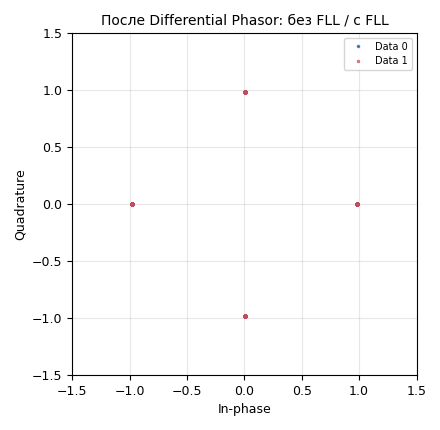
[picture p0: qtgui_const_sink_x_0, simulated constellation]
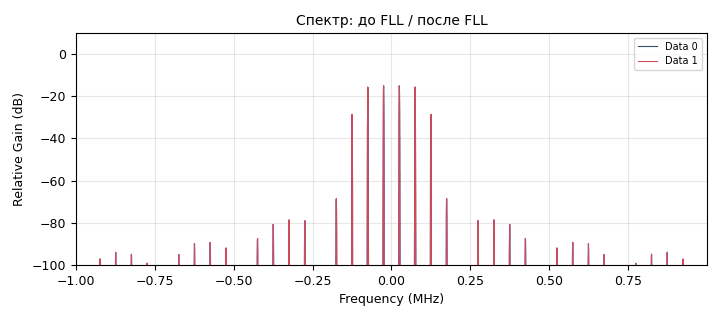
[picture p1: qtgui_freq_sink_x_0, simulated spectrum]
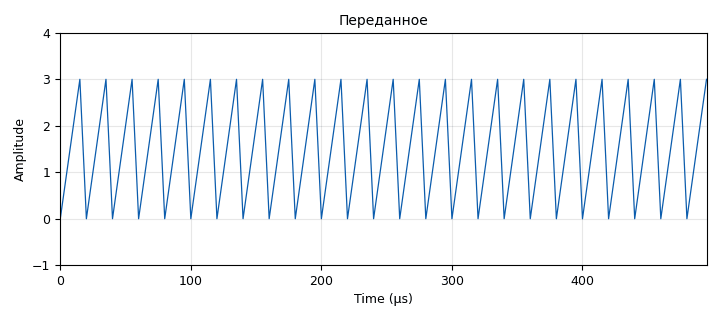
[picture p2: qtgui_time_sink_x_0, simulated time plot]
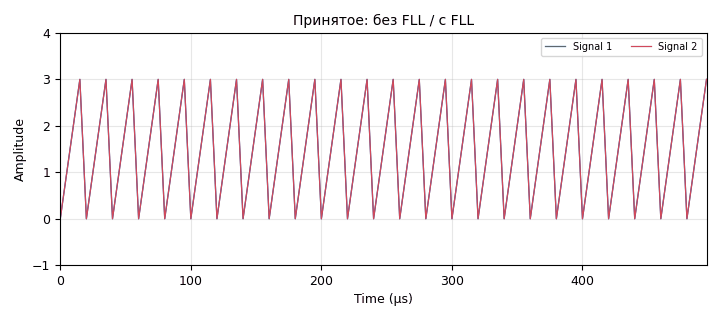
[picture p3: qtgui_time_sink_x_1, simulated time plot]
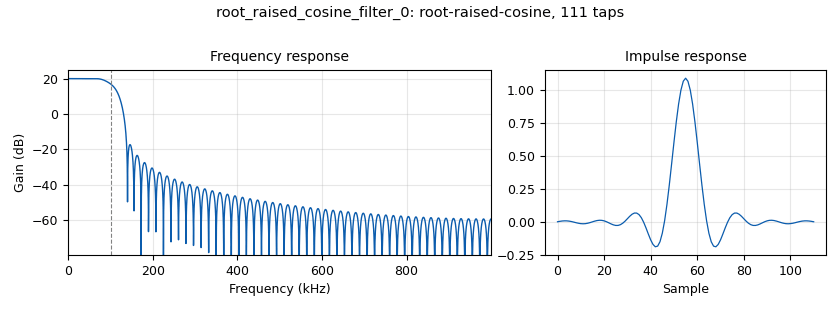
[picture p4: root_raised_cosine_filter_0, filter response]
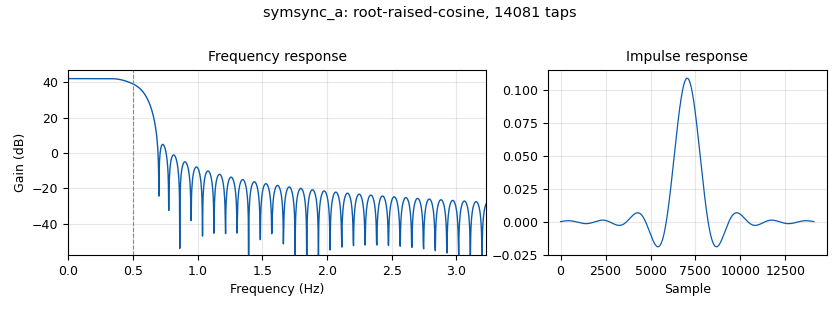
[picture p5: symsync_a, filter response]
options:
  parameters:
    author: Lab5
    generate_options: qt_gui
    id: lab5_1_9_1_krutoe
    output_language: python
  states: {}

blocks:
- name: Rs
  id: variable
  parameters:
    value: samp_rate/sps
  states: {}
- name: alpha
  id: variable
  parameters:
    value: '0.35'
  states: {}
- name: dqpsk
  id: variable_constellation
  parameters:
    const_points: '[1, 1j, -1, -1j]'
    dims: '1'
    normalization: digital.constellation.AMPLITUDE_NORMALIZATION
    precision: '8'
    rot_sym: '4'
    sym_map: '[0, 1, 2, 3]'
    type: calcdist
  states: {}
- name: f
  id: variable_qtgui_range
  parameters:
    label: '"Расстройка частоты, Гц"'
    start: '-50000.0'
    step: '100'
    stop: '50000.0'
    value: '0'
  states: {}
- name: n
  id: variable_qtgui_range
  parameters:
    label: '"Noise Voltage, мВ"'
    start: '0'
    step: '1'
    stop: '1000'
    value: '0'
  states: {}
- name: samp_rate
  id: variable
  parameters:
    value: 2e6
  states: {}
- name: sps
  id: variable
  parameters:
    value: '10'
  states: {}
- name: blocks_throttle2_0
  id: blocks_throttle2
  parameters:
    samples_per_second: Rs
    type: byte
  states: {}
- name: blocks_uchar_to_float_0
  id: blocks_uchar_to_float
  parameters: {}
  states: {}
- name: blocks_uchar_to_float_1
  id: blocks_uchar_to_float
  parameters: {}
  states: {}
- name: blocks_uchar_to_float_2
  id: blocks_uchar_to_float
  parameters: {}
  states: {}
- name: channel
  id: channels_channel_model
  parameters:
    epsilon: '1.0'
    freq_offset: f/samp_rate
    noise_voltage: n*1e-3
    seed: '0'
    taps: '1.0'
  states: {}
- name: chunks2sym
  id: digital_chunks_to_symbols_xx
  parameters:
    dimension: '1'
    in_type: byte
    out_type: complex
    symbol_table: '[0.707+0.707j, -0.707+0.707j, -0.707-0.707j, 0.707-0.707j]'
  states: {}
- name: decoder_a
  id: digital_constellation_decoder_cb
  parameters:
    constellation: dqpsk
  states: {}
- name: decoder_b
  id: digital_constellation_decoder_cb
  parameters:
    constellation: dqpsk
  states: {}
- name: diff_enc
  id: digital_diff_encoder_bb
  parameters:
    coding: digital.DIFF_DIFFERENTIAL
    modulus: '4'
  states: {}
- name: diffphasor_a
  id: digital_diff_phasor_cc
  parameters: {}
  states: {}
- name: diffphasor_b
  id: digital_diff_phasor_cc
  parameters: {}
  states: {}
- name: fll
  id: digital_fll_band_edge_cc
  parameters:
    filter_size: '44'
    rolloff: alpha
    samps_per_sym: sps
    type: cc
    w: '0.00628'
  states: {}
- name: qtgui_const_sink_x_0
  id: qtgui_const_sink_x
  parameters:
    grid: 'True'
    name: '"После Differential Phasor: без FLL / с FLL"'
    nconnections: '2'
    size: '1024'
    type: complex
    xmax: '1.5'
    xmin: '-1.5'
    ymax: '1.5'
    ymin: '-1.5'
  states: {}
- name: qtgui_freq_sink_x_0
  id: qtgui_freq_sink_x
  parameters:
    average: '0.1'
    bw: samp_rate
    fc: '0'
    fftsize: '4096'
    grid: 'True'
    name: '"Спектр: до FLL / после FLL"'
    nconnections: '2'
    type: complex
    ymin: '-100'
  states: {}
- name: qtgui_time_sink_x_0
  id: qtgui_time_sink_x
  parameters:
    grid: 'True'
    name: '"Переданное"'
    size: '100'
    srate: Rs
    type: float
    ymax: '4'
  states: {}
- name: qtgui_time_sink_x_1
  id: qtgui_time_sink_x
  parameters:
    grid: 'True'
    name: '"Принятое: без FLL / с FLL"'
    nconnections: '2'
    size: '100'
    srate: Rs
    type: float
    ymax: '4'
  states: {}
- name: root_raised_cosine_filter_0
  id: root_raised_cosine_filter
  parameters:
    alpha: alpha
    gain: sps
    interp: sps
    ntaps: 11*sps
    samp_rate: samp_rate
    sym_rate: Rs
    type: interp_fir_filter_ccf
  states: {}
- name: src_0
  id: blocks_vector_source_x
  parameters:
    repeat: 'True'
    type: byte
    vector: (0, 1, 2, 3)
  states: {}
- name: symsync_a
  id: digital_symbol_sync_xx
  parameters:
    constellation: digital.constellation_qpsk().base()
    damping: '1.0'
    loop_bw: '0.045'
    max_dev: '1.5'
    nfilters: '128'
    osps: '1'
    pfb_mf_taps: firdes.root_raised_cosine(128, 128*sps, 1.0, alpha, 11*sps*128)
    resamp_type: digital.IR_PFB_MF
    sps: sps
    ted_gain: '1.0'
    ted_type: digital.TED_GARDNER
    type: cc
  states: {}
- name: symsync_b
  id: digital_symbol_sync_xx
  parameters:
    constellation: digital.constellation_qpsk().base()
    damping: '1.0'
    loop_bw: '0.045'
    max_dev: '1.5'
    nfilters: '128'
    osps: '1'
    pfb_mf_taps: firdes.root_raised_cosine(128, 128*sps, 1.0, alpha, 11*sps*128)
    resamp_type: digital.IR_PFB_MF
    sps: sps
    ted_gain: '1.0'
    ted_type: digital.TED_GARDNER
    type: cc
  states: {}
- name: vsink
  id: virtual_sink
  parameters:
    stream_id: dqpsk
  states: {}
- name: vsrc
  id: virtual_source
  parameters:
    stream_id: dqpsk
  states: {}

connections:
- [blocks_throttle2_0, '0', blocks_uchar_to_float_0, '0']
- [blocks_throttle2_0, '0', diff_enc, '0']
- [blocks_uchar_to_float_0, '0', qtgui_time_sink_x_0, '0']
- [blocks_uchar_to_float_1, '0', qtgui_time_sink_x_1, '0']
- [blocks_uchar_to_float_2, '0', qtgui_time_sink_x_1, '1']
- [channel, '0', vsink, '0']
- [chunks2sym, '0', root_raised_cosine_filter_0, '0']
- [decoder_a, '0', blocks_uchar_to_float_1, '0']
- [decoder_b, '0', blocks_uchar_to_float_2, '0']
- [diff_enc, '0', chunks2sym, '0']
- [diffphasor_a, '0', decoder_a, '0']
- [diffphasor_a, '0', qtgui_const_sink_x_0, '0']
- [diffphasor_b, '0', decoder_b, '0']
- [diffphasor_b, '0', qtgui_const_sink_x_0, '1']
- [fll, '0', qtgui_freq_sink_x_0, '1']
- [fll, '0', symsync_b, '0']
- [root_raised_cosine_filter_0, '0', channel, '0']
- [src_0, '0', blocks_throttle2_0, '0']
- [symsync_a, '0', diffphasor_a, '0']
- [symsync_b, '0', diffphasor_b, '0']
- [vsrc, '0', fll, '0']
- [vsrc, '0', qtgui_freq_sink_x_0, '0']
- [vsrc, '0', symsync_a, '0']

metadata:
  file_format: 1
  grc_version: 3.10.12.0
